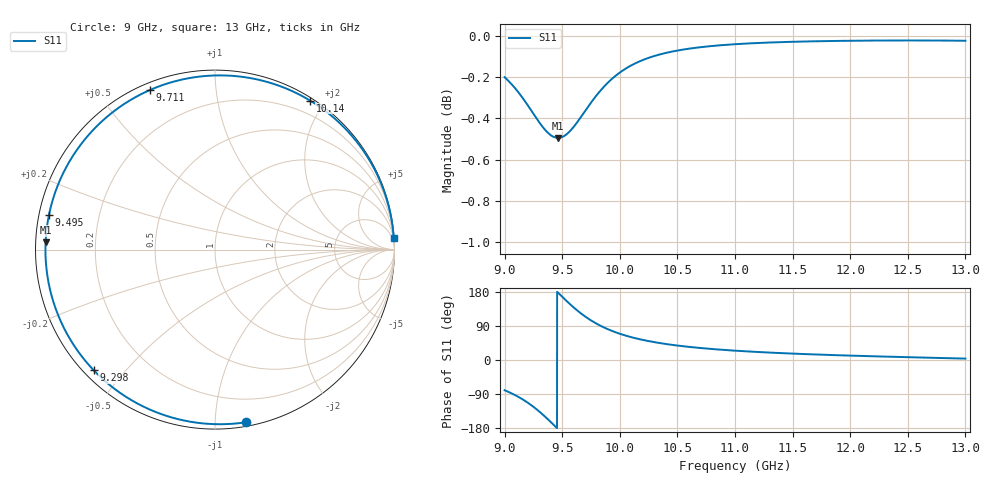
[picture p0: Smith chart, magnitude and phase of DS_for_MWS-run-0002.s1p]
! TOUCHSTONE file generated by CST DESIGN STUDIO
! Date and time: Tue Feb  4 13:38:50 2025
! Project name: C:\Work\MatlabApps\UnitCellOptimizationMatlab\CST\unitcell.cst
! Tree item: Tasks\Sweep1\SPara1\S-Parameters
! Header version: 2024
! Port assignment regex: !\s*Touchstone port\s*([0-9]+)\s*=\s*(CST MWS port|CST DES external port|CST DES block port)\s*(.+)\s* \(\"(.*)\"\)(\s*mode\s*([0-9]+))?.*
! Touchstone port assignment:
! Touchstone port 1 = CST DES external port 1 ("")
# GHz S MA R 50
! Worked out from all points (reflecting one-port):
!   4001 points, 9 GHz to 13 GHz, reference 50 ohm
!   lowest |S11| = -0.5 dB at 9.464 GHz (marker M1), VSWR 35.17, Z = 1.42 + j1.09 ohm
!   phase of S11 starts at -80 deg and turns -276 deg over the sweep
!   S11 on the Smith chart (normalised r, x): 9 GHz: 0.03, -1.20; 9.298 GHz: 0.03, -0.41; 9.495 GHz: 0.03, +0.10; 9.711 GHz: 0.03, +0.67; 10.14 GHz: 0.03, +1.83; 13 GHz: 1, +31
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9  0.9773 -79.8
9.072  0.9727 -89.7
9.168  0.965 -106.1
9.235  0.9589 -120.0
9.298  0.9532 -135.2
9.341  0.9497 -146.6
9.387  0.9468 -159.7
9.426  0.9452 -171.1
9.464  0.9447 177.5
9.495  0.945 168.3
9.5  0.9452 166.8
9.55  0.9472 152.3
9.608  0.9512 136.5
9.659  0.9555 123.8
9.711  0.9601 112.3
9.768  0.965 101.1
9.831  0.9699 90.5
9.914  0.9754 79.0
10  0.9799 69.2
10.136  0.985 57.4
10.3  0.989 47.1
10.5  0.992 38.1
10.722  0.994 31.0
11  0.9955 24.6
11.5  0.9969 16.9
12  0.9975 11.6
12.5  0.9976 7.4
13  0.9975 3.7
